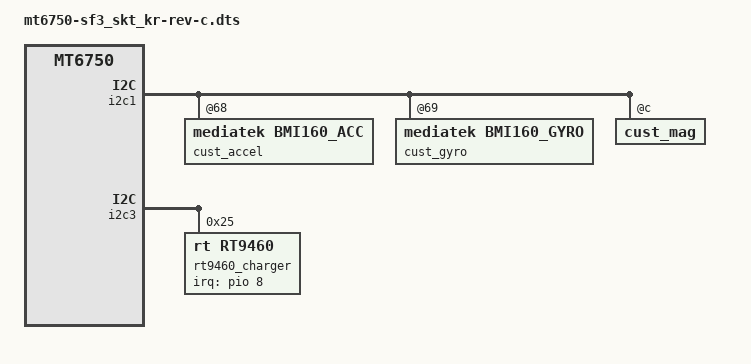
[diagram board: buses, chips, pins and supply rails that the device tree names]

/dts-v1/;

#include "../muse6750_hdk_n_lge.dtsi"

#include "../mt6750-common.dtsi"
#include "mt6750-sf3_skt_kr-power.dtsi"
#include "mt6750-sf3_skt_kr-panel.dtsi"
#include "mt6750-sf3_skt_kr-touch.dtsi"
#include "mt6750-sf3_skt_kr-sensor.dtsi"
#include "mt6750-sf3_skt_kr-fingerprint.dtsi"
#include "mt6750-sf3_skt_kr-misc.dtsi"
#include "mt6750-sf3_skt_kr-sound.dtsi"
#include "mt6750-sf3_skt_kr-nfc.dtsi"
#include "mt6750-sf3_skt_kr-common.dtsi"
#include "mt6750-sf3_skt_kr-usb.dtsi"
#include "mt6750-sf3_skt_kr-tdmb.dtsi"
#include "mt6750-sf3_skt_kr-camera.dtsi"

/ {
	/*
	typedef enum {
		HW_REV_0 = 0,
		HW_REV_0_1,
		HW_REV_A,
		HW_REV_B,
		HW_REV_C,
		HW_REV_1_0,
		HW_REV_1_1,
		HW_REV_MAX
	} rev_type;
	*/
	lge,pcb_revision = <0x4>; // rev_c
};

&i2c1 {
	cust_accel@68 {
		compatible = "mediatek,bmi160_acc";
		direction = <5>;
	};

	cust_gyro@69 {
		compatible = "mediatek,bmi160_gyro";
		direction = <5>;
	};

	cust_mag@c {
		direction = <6>;
	};

	/delete-node/ rt9460_charger@25;
};

&i2c3 {
	rt9460_charger@25 {
		status = "okay";
		compatible = "rt,rt9460";
		reg = <0x25>;
		interrupt-parent = <&eintc>;
		interrupts = <8 0x2002>;
		debounce = <8 0>;
		rt,irq_gpio = <&pio 8 0x2002>;
		rt,te_en;
		rt,iinlm_sel = <2>;
		rt,iprec = <2>;
		rt,ieoc = <2>;
		rt,deadbat = <8>;
		rt,vprec = <2>;
		rt,voreg = <35>;
		rt,icc = <3125>;
		rt,aicr = <1200>;
		rt,chg_volt = <4400>;
		rt,bst_volt = <5000>;
	};
};

//&i2c3 {
//	cust_mag@c {
//		direction = <6>;
//	};
//};
